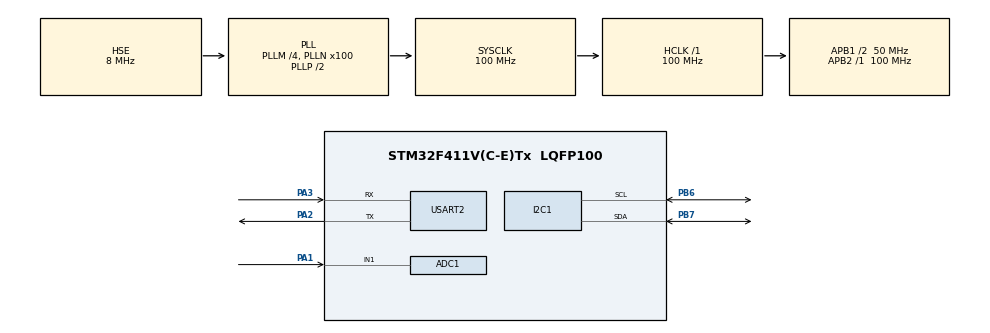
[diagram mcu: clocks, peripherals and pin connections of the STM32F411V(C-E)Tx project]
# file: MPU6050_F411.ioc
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ADC1.Channel-0\#ChannelRegularConversion=ADC_CHANNEL_1
ADC1.ContinuousConvMode=DISABLE
ADC1.DataAlign=ADC_DATAALIGN_RIGHT
ADC1.NbrOfConversionFlag=1
ADC1.Rank-0\#ChannelRegularConversion=1
ADC1.SamplingTime-0\#ChannelRegularConversion=ADC_SAMPLETIME_3CYCLES
ADC1.master=1
Dma.ADC1.1.Direction=DMA_PERIPH_TO_MEMORY
Dma.ADC1.1.FIFOMode=DMA_FIFOMODE_DISABLE
Dma.ADC1.1.Instance=DMA2_Stream0
Dma.ADC1.1.MemDataAlignment=DMA_MDATAALIGN_HALFWORD
Dma.ADC1.1.MemInc=DMA_MINC_ENABLE
Dma.ADC1.1.Mode=DMA_CIRCULAR
Dma.ADC1.1.PeriphDataAlignment=DMA_PDATAALIGN_HALFWORD
Dma.ADC1.1.PeriphInc=DMA_PINC_DISABLE
Dma.ADC1.1.Priority=DMA_PRIORITY_LOW
Dma.Request0=USART2_RX
Dma.Request1=ADC1
Dma.USART2_RX.0.Direction=DMA_PERIPH_TO_MEMORY
Dma.USART2_RX.0.FIFOMode=DMA_FIFOMODE_DISABLE
Dma.USART2_RX.0.Instance=DMA1_Stream5
Dma.USART2_RX.0.MemDataAlignment=DMA_MDATAALIGN_BYTE
Dma.USART2_RX.0.MemInc=DMA_MINC_ENABLE
Dma.USART2_RX.0.Mode=DMA_NORMAL
Dma.USART2_RX.0.PeriphDataAlignment=DMA_PDATAALIGN_BYTE
Dma.USART2_RX.0.PeriphInc=DMA_PINC_DISABLE
Dma.USART2_RX.0.Priority=DMA_PRIORITY_LOW
I2C1.I2C_Mode=I2C_Fast
Mcu.Family=STM32F4
Mcu.Name=STM32F411V(C-E)Tx
Mcu.Package=LQFP100
NVIC.DMA1_Stream5_IRQn=true\:0\:0\:false\:false\:true\:false\:true\:true
NVIC.DMA2_Stream0_IRQn=true\:0\:0\:false\:false\:true\:false\:true\:true
NVIC.PriorityGroup=NVIC_PRIORITYGROUP_4
NVIC.TIM2_IRQn=true\:0\:0\:false\:false\:true\:true\:true\:true
NVIC.USART2_IRQn=true\:0\:0\:false\:false\:true\:true\:true\:true
PA1.Signal=ADCx_IN1
PA13.Mode=Serial_Wire
PA13.Signal=SYS_JTMS-SWDIO
PA14.Mode=Serial_Wire
PA14.Signal=SYS_JTCK-SWCLK
PA2.Mode=Asynchronous
PA2.Signal=USART2_TX
PA3.Mode=Asynchronous
PA3.Signal=USART2_RX
PB6.Mode=I2C
PB6.Signal=I2C1_SCL
PB7.Mode=I2C
PB7.Signal=I2C1_SDA
PH0\ -\ OSC_IN.Mode=HSE-External-Oscillator
PH0\ -\ OSC_IN.Signal=RCC_OSC_IN
PH1\ -\ OSC_OUT.Mode=HSE-External-Oscillator
PH1\ -\ OSC_OUT.Signal=RCC_OSC_OUT
ProjectManager.HeapSize=0x200
ProjectManager.StackSize=0x400
ProjectManager.TargetToolchain=STM32CubeIDE
RCC.48MHZClocksFreq_Value=50000000
RCC.AHBFreq_Value=100000000
RCC.APB1CLKDivider=RCC_HCLK_DIV2
RCC.APB1Freq_Value=50000000
RCC.APB1TimFreq_Value=100000000
RCC.APB2Freq_Value=100000000
RCC.APB2TimFreq_Value=100000000
RCC.CortexFreq_Value=100000000
RCC.HCLKFreq_Value=100000000
RCC.HSE_VALUE=8000000
RCC.HSI_VALUE=16000000
RCC.LSE_VALUE=32768
RCC.PLLM=4
RCC.PLLN=100
RCC.PLLSourceVirtual=RCC_PLLSOURCE_HSE
RCC.SYSCLKFreq_VALUE=100000000
RCC.SYSCLKSource=RCC_SYSCLKSOURCE_PLLCLK
RCC.VCOOutputFreq_Value=200000000
SH.ADCx_IN1.0=ADC1_IN1,IN1
TIM2.Prescaler=99
USART2.VirtualMode=VM_ASYNC
VP_TIM2_VS_ClockSourceINT.Mode=Internal
board=custom

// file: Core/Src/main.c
/* USER CODE BEGIN Header */
/**
  ******************************************************************************
  * @file           : main.c
  * @brief          : Main program body
  ******************************************************************************
  * @attention
  *
  * Copyright (c) 2023 STMicroelectronics.
  * All rights reserved.
  *
  * This software is licensed under terms that can be found in the LICENSE file
  * in the root directory of this software component.
  * If no LICENSE file comes with this software, it is provided AS-IS.
  *
  ******************************************************************************
  */
/* USER CODE END Header */
#include "main.h"

/* USER CODE BEGIN Includes */
#include "stdio.h"
#include "string.h"
#include "TJ_MPU6050.h"
#include "my_main.h"
/* USER CODE END Includes */

/* USER CODE BEGIN PTD */
uint8_t buffUART[BUFFER_SIZE];
uint8_t PcData[BUFFER_SIZE];
/* USER CODE END PTD */

 ADC_HandleTypeDef hadc1;
DMA_HandleTypeDef hdma_adc1;

I2C_HandleTypeDef hi2c1;

TIM_HandleTypeDef htim2;

UART_HandleTypeDef huart2;
DMA_HandleTypeDef hdma_usart2_rx;

void SystemClock_Config(void);
static void MX_GPIO_Init(void);
static void MX_DMA_Init(void);
static void MX_I2C1_Init(void);
static void MX_USART2_UART_Init(void);
static void MX_TIM2_Init(void);
static void MX_ADC1_Init(void);

/* USER CODE BEGIN 0 */
void HAL_UARTEx_RxEventCallback(UART_HandleTypeDef *huart, uint16_t Size)
{
	if(huart->Instance == USART2)
	{
		memset(PcData,0,BUFFER_SIZE);
		memcpy(PcData,buffUART,Size);
		HAL_UARTEx_ReceiveToIdle_DMA(&huart2, buffUART, BUFFER_SIZE);
	}
}

void UARTRXInit(void) {
	HAL_UARTEx_ReceiveToIdle_DMA(&huart2, buffUART, BUFFER_SIZE);
	__HAL_DMA_DISABLE_IT(&hdma_usart2_rx, DMA_IT_HT);
}
/* USER CODE END 0 */

int main(void)
{
  /* USER CODE BEGIN 1 */
  MPU_ConfigTypeDef myMpuConfig;
  /* USER CODE END 1 */

  /* MCU Configuration--------------------------------------------------------*/

  /* Reset of all peripherals, Initializes the Flash interface and the Systick. */
  HAL_Init();

  /* Configure the system clock */
  SystemClock_Config();

  /* Initialize all configured peripherals */
  MX_GPIO_Init();
  MX_DMA_Init();
  MX_I2C1_Init();
  MX_USART2_UART_Init();
  MX_TIM2_Init();
  MX_ADC1_Init();
  /* USER CODE BEGIN 2 */
  UARTRXInit();
  //1. Initialise the MPU6050 module and I2C
  MPU6050_Init(&hi2c1, &myMpuConfig);
  //2. Configure Accel and Gyro parameters
  myMpuConfig.Accel_Full_Scale = AFS_SEL_4g;
  myMpuConfig.ClockSource = Internal_8MHz;
  myMpuConfig.CONFIG_DLPF = DLPF_184A_188G_Hz;
  myMpuConfig.Gyro_Full_Scale = FS_SEL_500;
  myMpuConfig.Sleep_Mode_Bit = 0;  //1: sleep mode, 0: normal mode
  MPU6050_Config();
  /* USER CODE END 2 */

  /* Infinite loop */
  /* USER CODE BEGIN WHILE */
  myMain();
  while (1)
  {
    /* USER CODE END WHILE */

  }
}

void SystemClock_Config(void)
{
  RCC_OscInitTypeDef RCC_OscInitStruct = {0};
  RCC_ClkInitTypeDef RCC_ClkInitStruct = {0};

  /** Configure the main internal regulator output voltage
  */
  __HAL_RCC_PWR_CLK_ENABLE();
  __HAL_PWR_VOLTAGESCALING_CONFIG(PWR_REGULATOR_VOLTAGE_SCALE1);

  /** Initializes the RCC Oscillators according to the specified parameters
  * in the RCC_OscInitTypeDef structure.
  */
  RCC_OscInitStruct.OscillatorType = RCC_OSCILLATORTYPE_HSE;
  RCC_OscInitStruct.HSEState = RCC_HSE_ON;
  RCC_OscInitStruct.PLL.PLLState = RCC_PLL_ON;
  RCC_OscInitStruct.PLL.PLLSource = RCC_PLLSOURCE_HSE;
  RCC_OscInitStruct.PLL.PLLM = 4;
  RCC_OscInitStruct.PLL.PLLN = 100;
  RCC_OscInitStruct.PLL.PLLP = RCC_PLLP_DIV2;
  RCC_OscInitStruct.PLL.PLLQ = 4;
  if (HAL_RCC_OscConfig(&RCC_OscInitStruct) != HAL_OK)
  {
    Error_Handler();
  }

  /** Initializes the CPU, AHB and APB buses clocks
  */
  RCC_ClkInitStruct.ClockType = RCC_CLOCKTYPE_HCLK|RCC_CLOCKTYPE_SYSCLK
                              |RCC_CLOCKTYPE_PCLK1|RCC_CLOCKTYPE_PCLK2;
  RCC_ClkInitStruct.SYSCLKSource = RCC_SYSCLKSOURCE_PLLCLK;
  RCC_ClkInitStruct.AHBCLKDivider = RCC_SYSCLK_DIV1;
  RCC_ClkInitStruct.APB1CLKDivider = RCC_HCLK_DIV2;
  RCC_ClkInitStruct.APB2CLKDivider = RCC_HCLK_DIV1;

  if (HAL_RCC_ClockConfig(&RCC_ClkInitStruct, FLASH_LATENCY_3) != HAL_OK)
  {
    Error_Handler();
  }
}

static void MX_ADC1_Init(void)
{

  ADC_ChannelConfTypeDef sConfig = {0};

  /** Configure the global features of the ADC (Clock, Resolution, Data Alignment and number of conversion)
  */
  hadc1.Instance = ADC1;
  hadc1.Init.ClockPrescaler = ADC_CLOCK_SYNC_PCLK_DIV4;
  hadc1.Init.Resolution = ADC_RESOLUTION_12B;
  hadc1.Init.ScanConvMode = DISABLE;
  hadc1.Init.ContinuousConvMode = DISABLE;
  hadc1.Init.DiscontinuousConvMode = DISABLE;
  hadc1.Init.ExternalTrigConvEdge = ADC_EXTERNALTRIGCONVEDGE_NONE;
  hadc1.Init.ExternalTrigConv = ADC_SOFTWARE_START;
  hadc1.Init.DataAlign = ADC_DATAALIGN_RIGHT;
  hadc1.Init.NbrOfConversion = 1;
  hadc1.Init.DMAContinuousRequests = DISABLE;
  hadc1.Init.EOCSelection = ADC_EOC_SINGLE_CONV;
  if (HAL_ADC_Init(&hadc1) != HAL_OK)
  {
    Error_Handler();
  }

  /** Configure for the selected ADC regular channel its corresponding rank in the sequencer and its sample time.
  */
  sConfig.Channel = ADC_CHANNEL_1;
  sConfig.Rank = 1;
  sConfig.SamplingTime = ADC_SAMPLETIME_3CYCLES;
  if (HAL_ADC_ConfigChannel(&hadc1, &sConfig) != HAL_OK)
  {
    Error_Handler();
  }

}

static void MX_I2C1_Init(void)
{

  hi2c1.Instance = I2C1;
  hi2c1.Init.ClockSpeed = 400000;
  hi2c1.Init.DutyCycle = I2C_DUTYCYCLE_2;
  hi2c1.Init.OwnAddress1 = 0;
  hi2c1.Init.AddressingMode = I2C_ADDRESSINGMODE_7BIT;
  hi2c1.Init.DualAddressMode = I2C_DUALADDRESS_DISABLE;
  hi2c1.Init.OwnAddress2 = 0;
  hi2c1.Init.GeneralCallMode = I2C_GENERALCALL_DISABLE;
  hi2c1.Init.NoStretchMode = I2C_NOSTRETCH_DISABLE;
  if (HAL_I2C_Init(&hi2c1) != HAL_OK)
  {
    Error_Handler();
  }

}

static void MX_TIM2_Init(void)
{

  TIM_ClockConfigTypeDef sClockSourceConfig = {0};
  TIM_MasterConfigTypeDef sMasterConfig = {0};

  htim2.Instance = TIM2;
  htim2.Init.Prescaler = 99;
  htim2.Init.CounterMode = TIM_COUNTERMODE_UP;
  htim2.Init.Period = 4294967295;
  htim2.Init.ClockDivision = TIM_CLOCKDIVISION_DIV1;
  htim2.Init.AutoReloadPreload = TIM_AUTORELOAD_PRELOAD_DISABLE;
  if (HAL_TIM_Base_Init(&htim2) != HAL_OK)
  {
    Error_Handler();
  }
  sClockSourceConfig.ClockSource = TIM_CLOCKSOURCE_INTERNAL;
  if (HAL_TIM_ConfigClockSource(&htim2, &sClockSourceConfig) != HAL_OK)
  {
    Error_Handler();
  }
  sMasterConfig.MasterOutputTrigger = TIM_TRGO_RESET;
  sMasterConfig.MasterSlaveMode = TIM_MASTERSLAVEMODE_DISABLE;
  if (HAL_TIMEx_MasterConfigSynchronization(&htim2, &sMasterConfig) != HAL_OK)
  {
    Error_Handler();
  }

}

static void MX_USART2_UART_Init(void)
{

  huart2.Instance = USART2;
  huart2.Init.BaudRate = 115200;
  huart2.Init.WordLength = UART_WORDLENGTH_8B;
  huart2.Init.StopBits = UART_STOPBITS_1;
  huart2.Init.Parity = UART_PARITY_NONE;
  huart2.Init.Mode = UART_MODE_TX_RX;
  huart2.Init.HwFlowCtl = UART_HWCONTROL_NONE;
  huart2.Init.OverSampling = UART_OVERSAMPLING_16;
  if (HAL_UART_Init(&huart2) != HAL_OK)
  {
    Error_Handler();
  }

}

static void MX_DMA_Init(void)
{

  /* DMA controller clock enable */
  __HAL_RCC_DMA1_CLK_ENABLE();
  __HAL_RCC_DMA2_CLK_ENABLE();

  /* DMA interrupt init */
  /* DMA1_Stream5_IRQn interrupt configuration */
  HAL_NVIC_SetPriority(DMA1_Stream5_IRQn, 0, 0);
  HAL_NVIC_EnableIRQ(DMA1_Stream5_IRQn);
  /* DMA2_Stream0_IRQn interrupt configuration */
  HAL_NVIC_SetPriority(DMA2_Stream0_IRQn, 0, 0);
  HAL_NVIC_EnableIRQ(DMA2_Stream0_IRQn);

}

static void MX_GPIO_Init(void)
{

  /* GPIO Ports Clock Enable */
  __HAL_RCC_GPIOH_CLK_ENABLE();
  __HAL_RCC_GPIOA_CLK_ENABLE();
  __HAL_RCC_GPIOB_CLK_ENABLE();

}

void Error_Handler(void)
{
  __disable_irq();
  while (1)
  {
  }
}
